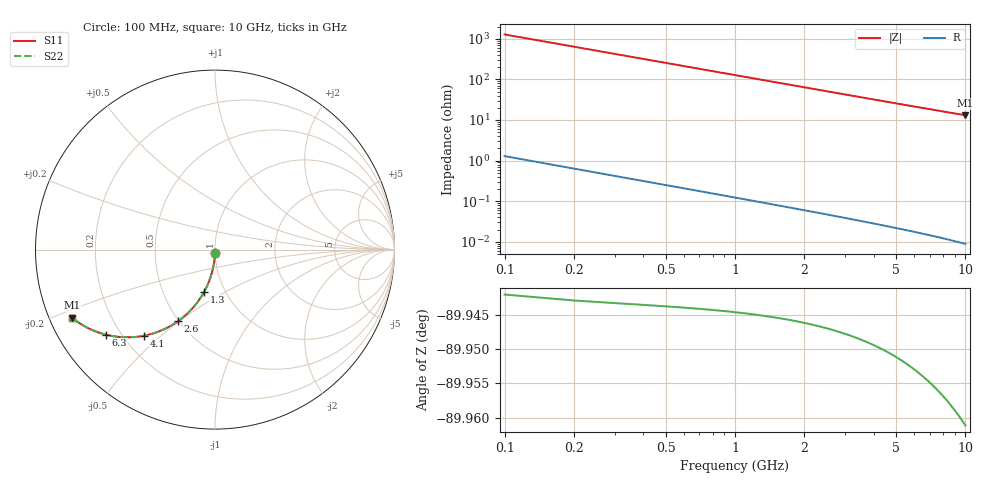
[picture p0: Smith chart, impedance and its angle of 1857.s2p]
# Hz S RI R 50.00
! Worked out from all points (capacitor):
!   100 points, 100 MHz to 10 GHz, reference 50 ohm
!   read as one part in shunt: C = 1.25 pF near 100 MHz
!   lowest |Z| = 13.1 ohm at 10 GHz (marker M1)
!   S11 on the Smith chart (normalised r, x): 100 MHz: 1.00, -0.04; 1.3 GHz: 0.80, -0.40; 2.6 GHz: 0.49, -0.49; 4.1 GHz: 0.28, -0.44; 6.3 GHz: 0.15, -0.34; 10 GHz: 0.07, -0.23
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1e8  -0.000224 -0.0194  0.9994 -0.0198  0.9994 -0.0198  -0.000224 -0.0194
2e8  -0.00139 -0.0387  0.9982 -0.0395  0.9982 -0.0395  -0.00139 -0.0387
3e8  -0.00332 -0.0579  0.9963 -0.0592  0.9963 -0.0592  -0.00332 -0.0579
4e8  -0.00599 -0.077  0.9936 -0.0787  0.9936 -0.0787  -0.00599 -0.077
5e8  -0.00941 -0.0959  0.9902 -0.0981  0.9902 -0.0981  -0.00941 -0.0959
6e8  -0.0136 -0.1146  0.9861 -0.1172  0.9861 -0.1172  -0.0136 -0.1146
7e8  -0.0184 -0.133  0.9812 -0.136  0.9812 -0.136  -0.0184 -0.133
8e8  -0.0239 -0.1512  0.9757 -0.1546  0.9757 -0.1546  -0.0239 -0.1512
1e9  -0.0369 -0.1864  0.9627 -0.1907  0.9627 -0.1907  -0.0369 -0.1864
1.3e9  -0.0609 -0.2363  0.9387 -0.2418  0.9387 -0.2418  -0.0609 -0.2363
1.5e9  -0.0795 -0.2672  0.9201 -0.2736  0.9201 -0.2736  -0.0795 -0.2672
1.8e9  -0.1107 -0.3096  0.8889 -0.3173  0.8889 -0.3173  -0.1107 -0.3096
2.2e9  -0.1568 -0.3586  0.8428 -0.368  0.8428 -0.368  -0.1568 -0.3586
2.6e9  -0.2062 -0.3987  0.7933 -0.4098  0.7933 -0.4098  -0.2062 -0.3987
3.4e9  -0.3078 -0.4539  0.6917 -0.4685  0.6917 -0.4685  -0.3078 -0.4539
4.1e9  -0.393 -0.4791  0.6065 -0.4968  0.6065 -0.4968  -0.393 -0.4791
5.1e9  -0.5009 -0.4885  0.4985 -0.5104  0.4985 -0.5104  -0.5009 -0.4885
6.3e9  -0.6057 -0.4745  0.3935 -0.5017  0.3935 -0.5017  -0.6057 -0.4745
6.7e9  -0.6349 -0.4663  0.3642 -0.4953  0.3642 -0.4953  -0.6349 -0.4663
7.5e9  -0.686 -0.4471  0.313 -0.4796  0.313 -0.4796  -0.686 -0.4471
8.4e9  -0.7333 -0.4231  0.2656 -0.4596  0.2656 -0.4596  -0.7333 -0.4231
1e10  -0.7968 -0.3795  0.2018 -0.4231  0.2018 -0.4231  -0.7968 -0.3795
